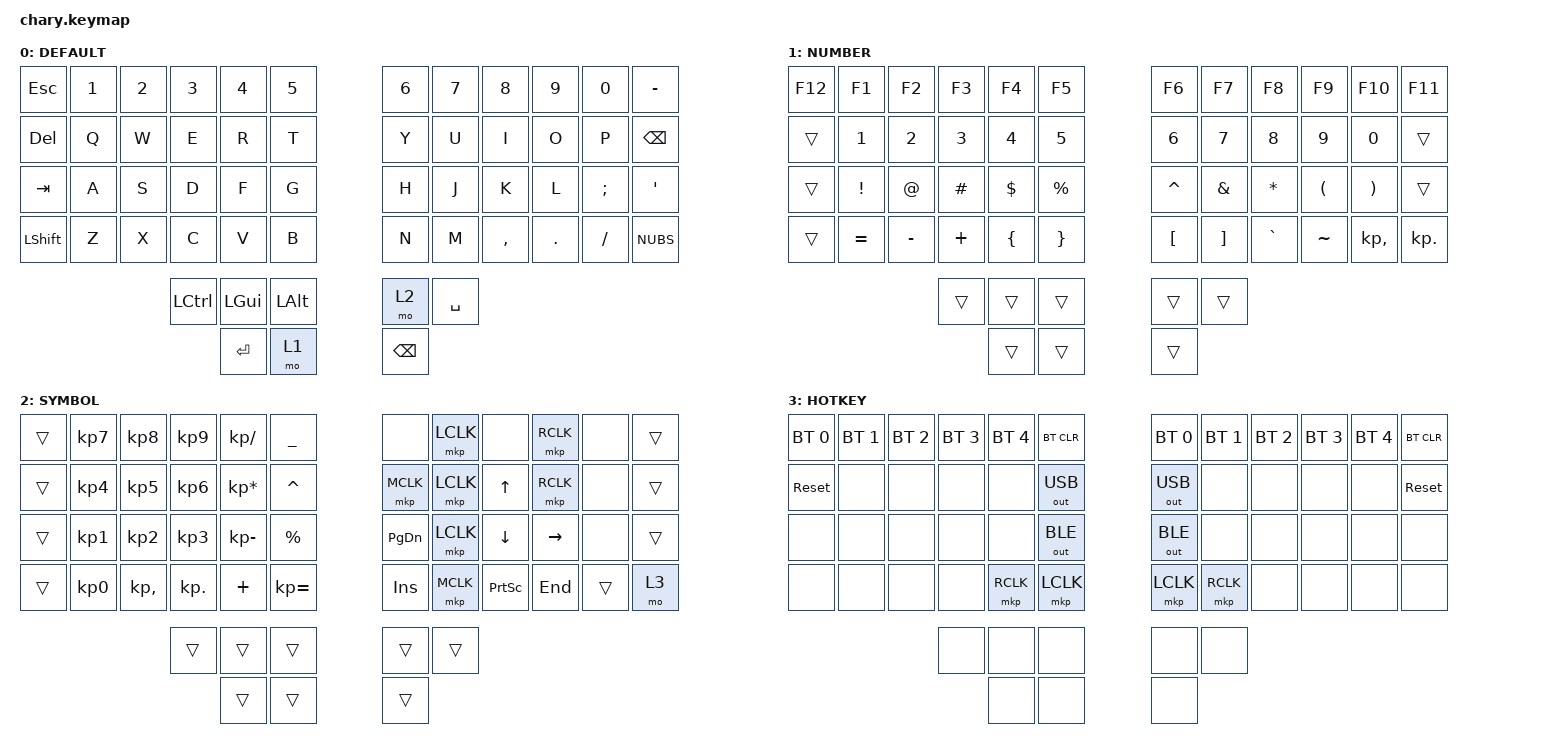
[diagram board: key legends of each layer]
#include <behaviors.dtsi>
#include <dt-bindings/zmk/bt.h>
#include <dt-bindings/zmk/keys.h>
#include <dt-bindings/zmk/outputs.h>
#include <dt-bindings/zmk/mouse.h>

#define DEFAULT 0
#define NUMBER  1
#define SYMBOL  2
#define HOTKEY  3


/ {
    

    

    combos {
        compatible = "zmk,combos";

        lup {
            bindings = <&kp UP>;
            key-positions = <15 16>;
            layers = <0 1>;
            timeout-ms = <50>;
        };

        ldown {
            bindings = <&kp DOWN>;
            key-positions = <39 40>;
            timeout-ms = <50>;
        };

        lleft {
            bindings = <&kp LEFT>;
            key-positions = <26 27>;
            layers = <0 1>;
            timeout-ms = <50>;
        };

        lright {
            bindings = <&kp RIGHT>;
            key-positions = <27 28>;
            layers = <0 1>;
            timeout-ms = <50>;
        };

        rup {
            bindings = <&kp UP>;
            key-positions = <19 20>;
            layers = <0 1>;
            timeout-ms = <50>;
        };

        rdown {
            bindings = <&kp DOWN>;
            key-positions = <43 44>;
            timeout-ms = <50>;
        };

        rleft {
            bindings = <&kp LEFT>;
            key-positions = <31 32>;
            layers = <0 1>;
            timeout-ms = <50>;
        };

        rright {
            bindings = <&kp RIGHT>;
            key-positions = <32 33>;
            layers = <0 1>;
            timeout-ms = <50>;
        };
    };


    keymap {
        compatible = "zmk,keymap";

        default_layer {
            label = "DEFAULT";
            bindings = <
&kp ESC        &kp N1  &kp N2         &kp N3        &kp N4     &kp N5           &kp N6         &kp N7     &kp N8     &kp N9     &kp N0    &kp MINUS
&kp DELETE     &kp Q   &kp W          &kp E         &kp R      &kp T            &kp Y          &kp U      &kp I      &kp O      &kp P     &kp BACKSPACE
&kp TAB        &kp A   &kp S          &kp D         &kp F      &kp G            &kp H          &kp J      &kp K      &kp L      &kp SEMI  &kp SQT
&kp LSHFT     &kp Z   &kp X          &kp C         &kp V      &kp B            &kp N          &kp M      &kp COMMA  &kp DOT    &kp FSLH  &kp NUBS
          &kp LCTRL     &kp LGUI      &kp LALT     &kp ENTER   &mo 1                                            &mo 2      &kp SPACE   &kp BACKSPACE 
            >;
        };

        number_layer {
            label = "NUMBER";
            bindings = <
&kp F12  &kp F1  &kp F2    &kp F3    &kp F4     &kp F5  &kp F6  &kp F7     &kp F8     &kp F9      &kp F10      &kp F11
&trans  &kp N1         &kp N2        &kp N3         &kp N4      &kp N5      &kp N6  &kp N7   &kp N8   &kp N9    &kp N0  &trans
&trans    &kp EXCL   &kp AT  &kp POUND  &kp DLLR  &kp PRCNT   &kp CARET   &kp AMPS  &kp STAR  &kp LPAR   &kp RPAR        &trans
&trans  &kp EQUAL   &kp MINUS    &kp PLUS     &kp LBRC       &kp RBRC    &kp LBKT   &kp RBKT  &kp GRAVE  &kp TILDE   &kp KP_COMMA     &kp KP_DOT
                 &trans     &trans     &trans      &trans   &trans   &trans      &trans      &trans 
            >;
        };

        symbol_layer {
            label = "SYMBOL";
            bindings = <
&trans  &kp KP_N7    &kp KP_N8        &kp KP_N9      &kp KP_SLASH      &kp UNDER           &none  &mkp LCLK  &none  &mkp RCLK  &none  &trans
&trans  &kp KP_N4    &kp KP_N5        &kp KP_N6      &kp KP_ASTERISK   &kp CARET           &mkp MCLK  &mkp LCLK  &kp UP  &mkp RCLK  &none  &trans
&trans  &kp KP_N1    &kp KP_N2        &kp KP_N3      &kp KP_SUBTRACT   &kp PRCNT           &kp PG_DN  &mkp LCLK  &kp DOWN  &kp RIGHT &none  &trans
&trans  &kp KP_N0    &kp KP_COMMA     &kp  KP_DOT    &kp PLUS          &kp KP_EQUAL        &kp INS  &mkp MCLK  &kp PSCRN  &kp END  &trans &mo 3
                       &trans    &trans    &trans    &trans  &trans  &trans  &trans  &trans 
            >;
        };

        hotkey_layer {
            label = "HOTKEY";
            bindings = <


                       &bt BT_SEL 0  &bt BT_SEL 1  &bt BT_SEL 2  &bt BT_SEL 3  &bt BT_SEL 4  &bt BT_CLR    &bt BT_SEL 0  &bt BT_SEL 1  &bt BT_SEL 2  &bt BT_SEL 3  &bt BT_SEL 4  &bt BT_CLR
&sys_reset    &none         &none         &none         &none         &out OUT_USB  &out OUT_USB  &none         &none         &none         &none         &sys_reset
&none         &none         &none         &none         &none         &out OUT_BLE  &out OUT_BLE  &none         &none         &none         &none         &none
&none         &none         &none         &none         &mkp RCLK         &mkp LCLK         &mkp LCLK         &mkp RCLK         &none         &none         &none         &none
                            &none         &none         &none         &none         &none         &none         &none         &none  
            >;
        };
    };
};
